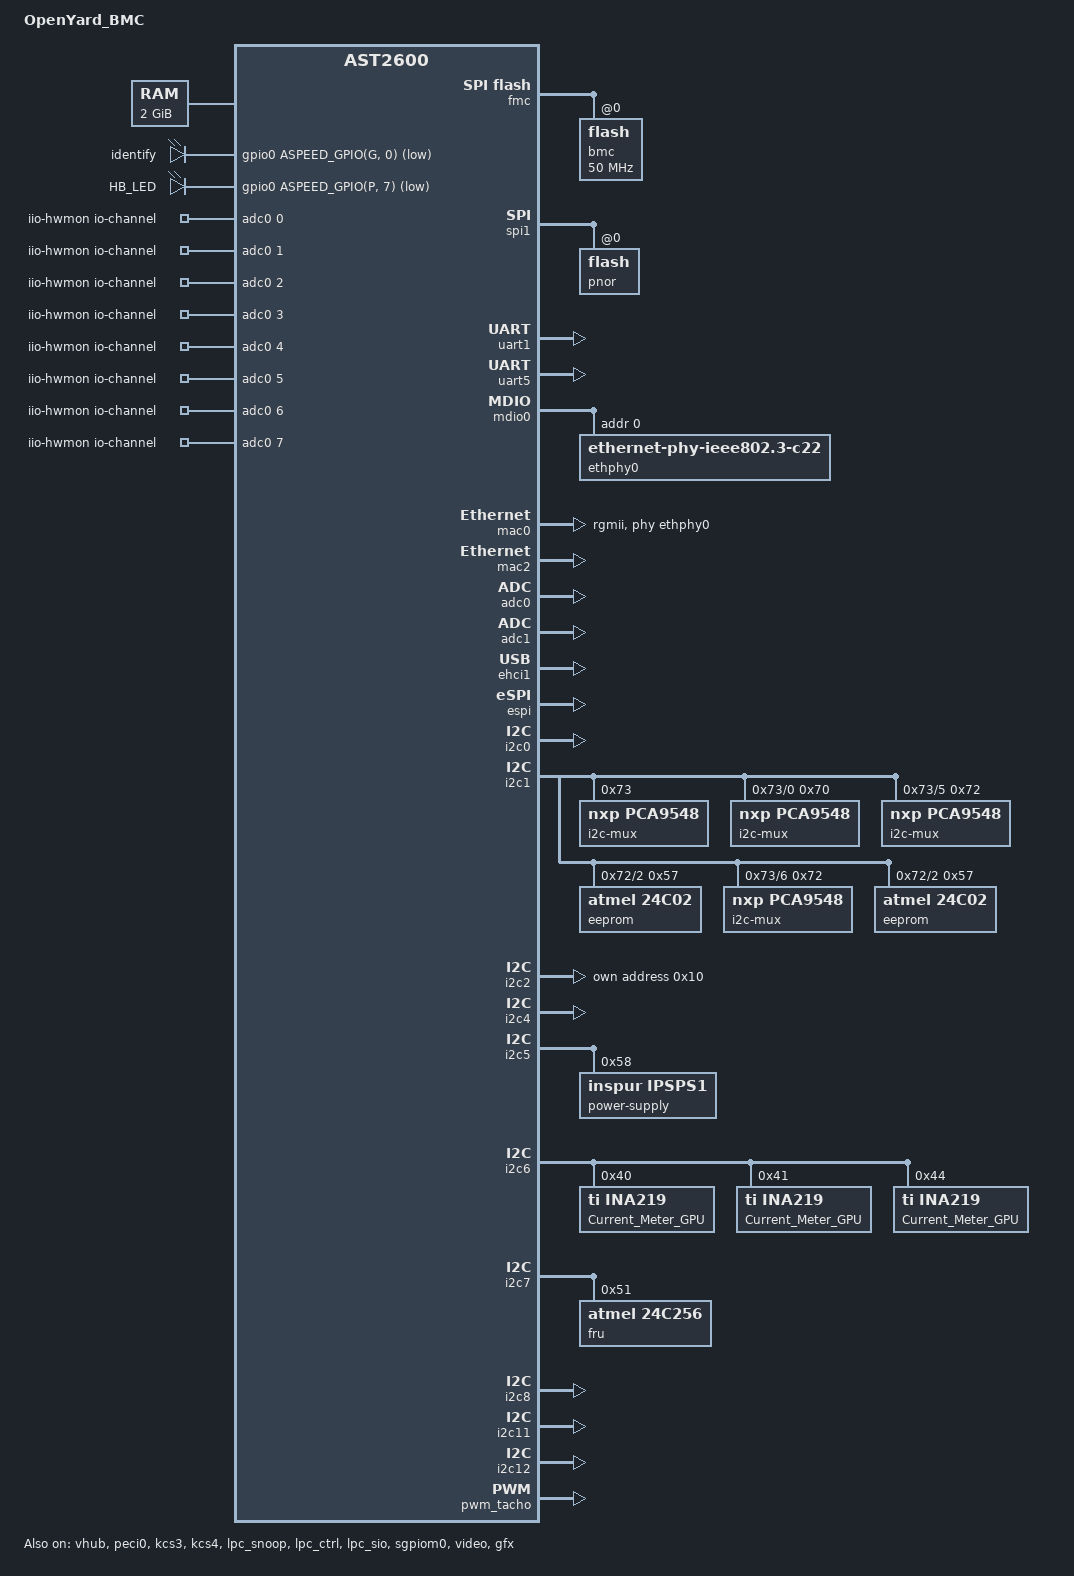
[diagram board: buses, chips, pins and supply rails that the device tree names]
// SPDX-License-Identifier: GPL-2.0
// Copyright (c) 2017 Intel Corporation
/dts-v1/;

#include "aspeed-g6.dtsi"
#include "aspeed-g6-pinctrl.dtsi"
#include <dt-bindings/gpio/aspeed-gpio.h>
#include <dt-bindings/leds/leds-pca955x.h>
#include <dt-bindings/i2c/i2c.h>

/ {
	model = "OpenYard_BMC";
	compatible = "intel,s2600wf-bmc", "aspeed,ast2600";

	aliases {

		/*i2c16 = &pcie_slo1;
		i2c17 = &pcie_slo2;
		i2c18 = &pcie_slo3;
		i2c19 = &ocp30;
		i2c20 = &ocp20;
		i2c23 = &lan;

		i2c24 = &data1;
		i2c25 = &data2;
		i2c26 = &eeprom1;
		i2c27 = &data3;
		i2c28 = &data4;
		i2c29 = &eeprom2;*/

		//i2c100 = &eeprom1;
		//i2c101 = &eeprom2;

	};

	chosen {
		stdout-path = &uart5;
		bootargs = "earlycon";
	};

	memory@80000000 {
		device_type = "memory";
		reg = <0x80000000 0x80000000>;
	};

	leds {
        compatible = "gpio-leds";

        // UID led
        identify {
            default-state = "off";
            gpios = <&gpio0 ASPEED_GPIO(G, 0) GPIO_ACTIVE_LOW>;
        };

        // Heart beat led
        heartbeat {
        	label = "HB_LED";
         	gpios = <&gpio0 ASPEED_GPIO(P, 7) GPIO_ACTIVE_LOW>;
			linux,default-trigger = "heartbeat";
        };
    };

	reserved-memory {
		#address-cells = <1>;
		#size-cells = <1>;
		ranges;

		/* VGA region is dictated by hardware strapping */
		vga_memory: region@9f000000 {
			no-map;
			compatible = "shared-dma-pool";
			reg = <0x9f000000 0x01000000>;  /* 16M */
		};

        /*video_engine_memory: jpegbuffer {
            size = <0x02000000>;
            alignment = <0x01000000>;
            compatible = "shared-dma-pool";
            reusable;
        };*/

		gfx_memory: framebuffer {
			size = <0x01000000>;
			alignment = <0x01000000>;
			compatible = "shared-dma-pool";
			reusable;
		};

		video_engine_memory: video {
			size = <0x04000000>;
			alignment = <0x01000000>;
			compatible = "shared-dma-pool";
			reusable;
		};
		
        ramoops@9eff0000{
            compatible = "ramoops";
            reg = <0x9eff0000 0x10000>;
            record-size = <0x2000>;
            console-size = <0x2000>;
        };
	};

	vga-shared-memory {
		compatible = "aspeed,ast2500-vga-sharedmem";
		reg = <0x9ff00000 0x100000>;
	};

	iio-hwmon {
		compatible = "iio-hwmon";
		io-channels = <&adc0 0>, <&adc0 1>, <&adc0 2>, <&adc0 3>,
			<&adc0 4>, <&adc0 5>, <&adc0 6>, <&adc0 7>,
			<&adc1 0>, <&adc1 1>, <&adc1 2>, <&adc1 3>,
			<&adc1 4>, <&adc1 5>, <&adc1 6>, <&adc1 7>;
	};

};

&fmc {
	status = "okay";
	flash@0 {
		status = "okay";
		m25p,fast-read;
		label = "bmc";
		spi-rx-bus-width = <4>;
		spi-max-frequency = <50000000>;
#include "openbmc-flash-layout-64.dtsi"
	};
};

&spi1 {
	status = "okay";
	pinctrl-names = "default";
	pinctrl-0 = <&pinctrl_spi1_default>;

	flash@0 {
		status = "okay";
		m25p,fast-read;
		label = "pnor";
	};
};

&uart1 {
	/* Rear RS-232 connector */
	status = "okay";
	pinctrl-names = "default";
	pinctrl-0 = <&pinctrl_txd1_default
			&pinctrl_rxd1_default
			&pinctrl_nrts1_default
			&pinctrl_ndtr1_default
			&pinctrl_ndsr1_default
			&pinctrl_ncts1_default
			&pinctrl_ndcd1_default
			&pinctrl_nri1_default>;
};

&uart5 {
	status = "okay";
};


&mdio0 {
	status = "okay";
	ethphy0: ethernet-phy@0 {
		compatible = "ethernet-phy-ieee802.3-c22";
		reg = <0>;
	};	
};

&mac0 {
	status = "okay";

	phy-mode = "rgmii";
	phy-handle = <&ethphy0>;

	pinctrl-names = "default";
	pinctrl-0 = <&pinctrl_rgmii1_default>;
};

&mac2 {
	status = "okay";
	pinctrl-names = "default";
	pinctrl-0 = <&pinctrl_rmii3_default>;
	clocks = <&syscon ASPEED_CLK_GATE_MAC3CLK>,
		 <&syscon ASPEED_CLK_MAC3RCLK>;
	clock-names = "MACCLK", "RCLK";
	use-ncsi;
};

&adc0 {
	vref = <2500>;
	status = "okay";

	pinctrl-names = "default";
	pinctrl-0 = <&pinctrl_adc0_default &pinctrl_adc1_default
		&pinctrl_adc2_default &pinctrl_adc3_default
		&pinctrl_adc4_default &pinctrl_adc5_default
		&pinctrl_adc6_default &pinctrl_adc7_default>;
};

&adc1 {
	vref = <2500>;
	status = "okay";

	pinctrl-names = "default";
	pinctrl-0 = <&pinctrl_adc8_default &pinctrl_adc9_default
		&pinctrl_adc10_default &pinctrl_adc11_default
		&pinctrl_adc12_default &pinctrl_adc13_default
		&pinctrl_adc14_default &pinctrl_adc15_default>;
};

&vhub {
	status = "okay";
};

&ehci1 {
	status = "okay";
};

&peci0 {
	status = "okay";
};

&espi {
	status = "okay";
};

&kcs3 {
	status = "okay";
	aspeed,lpc-io-reg = <0xca2>;
};

&kcs4 {
	aspeed,lpc-io-reg = <0xCA4>;
	status = "okay";
};

&lpc_snoop {
	status = "okay";
	snoop-ports = <0x80>, <0x81>;
};

&lpc_ctrl {
	status = "okay";
};

&lpc_sio {
	status = "okay";
};

&i2c0 {
	status = "okay";
};
//
&i2c1 {

	status = "okay";
	i2c-mux@73 {
		compatible = "nxp,pca9548";
		#address-cells = <1>;
		#size-cells = <0>;
		reg = <0x73>;
		i2c-mux-idle-disconnect;

		pcie_slo1: i2c@0 {
			#address-cells = <1>;
			#size-cells = <0>;
			reg = <0x0>;
		};
	
		pcie_slo2: i2c@1 {
			#address-cells = <1>;
			#size-cells = <0>;
			reg = <0x1>;
		};
		
		pcie_slo3: i2c@2 {
			#address-cells = <1>;
			#size-cells = <0>;
			reg = <0x2>;
		};

		ocp30: i2c@3 {
			#address-cells = <1>;
			#size-cells = <0>;
			reg = <0x3>;
		};

		ocp20: i2c@4 {
			#address-cells = <1>;
			#size-cells = <0>;
			reg = <0x4>;
		};

		u20: i2c@5 {
			#address-cells = <1>;
			#size-cells = <0>;
			reg = <0x5>;
		};

		u21: i2c@6 {
			#address-cells = <1>;
			#size-cells = <0>;
			reg = <0x6>;
		};

		lan: i2c@7 {
			#address-cells = <1>;
			#size-cells = <0>;
			reg = <0x7>;
		};
	};
};

&pcie_slo1 {
	status = "okay";

	i2c-mux@70 {
		compatible = "nxp,pca9548";
		#address-cells = <1>;
		#size-cells = <0>;
		reg = <0x70>;
		i2c-mux-idle-disconnect;

		slot1_ch0: i2c@0 {
			#address-cells = <1>;
			#size-cells = <0>;
			reg = <0x0>;
		};

		slot1_ch1: i2c@1 {
			#address-cells = <1>;
			#size-cells = <0>;
			reg = <0x1>;
		};

		slot1_ch2: i2c@2 {
			#address-cells = <1>;
			#size-cells = <0>;
			reg = <0x2>;
		};

		slot1_ch3: i2c@3 {
			#address-cells = <1>;
			#size-cells = <0>;
			reg = <0x3>;
		};

		slot1_ch4: i2c@4 {
			#address-cells = <1>;
			#size-cells = <0>;
			reg = <0x4>;
		};

		slot1_ch5: i2c@5 {
			#address-cells = <1>;
			#size-cells = <0>;
			reg = <0x5>;
		};

		slot1_ch6: i2c@6 {
			#address-cells = <1>;
			#size-cells = <0>;
			reg = <0x6>;
		};

		slot1_ch7: i2c@7 {
			#address-cells = <1>;
			#size-cells = <0>;
			reg = <0x7>;
		};
	};
};

&u20 {
	status = "okay";
	
	i2c-mux@72 {
		compatible = "nxp,pca9548";
		#address-cells = <1>;
		#size-cells = <0>;
		reg = <0x72>;
		i2c-mux-idle-disconnect;

		data1: i2c@0{
			#address-cells = <1>;
			#size-cells = <0>;
			reg = <0x0>;
		};

		data2: i2c@1{
			#address-cells = <1>;
			#size-cells = <0>;
			reg = <0x1>;
		};

		/*eeprom1: temperature-sensor-eeprom@57 {
			compatible = "jedec,jc-42.4-temp";
			reg = <0x57>;
		};*/
		eeprom1: i2c@2 {
			#address-cells = <1>;
			#size-cells = <0>;
			reg = <0x2>;
		};
	};

};

&u21 {
	status = "okay";

	i2c-mux@72 {
		compatible = "nxp,pca9548";
		#address-cells = <1>;
		#size-cells = <0>;
		reg = <0x72>;
		i2c-mux-idle-disconnect;

		data3: i2c@0{
			#address-cells = <1>;
			#size-cells = <0>;
			reg = <0x0>;
		};

		data4: i2c@1{
			#address-cells = <1>;
			#size-cells = <0>;
			reg = <0x1>;
		};

		/*eeprom2: temperature-sensor-eeprom@57 {
			compatible = "jedec,jc-42.4-temp";
			reg = <0x57>;
		};*/

		eeprom2: i2c@2 {
			#address-cells = <1>;
			#size-cells = <0>;
			reg = <0x2>;
		};
	};

};

&eeprom1 {
	status = "okay";
	eeprom@57 {
		compatible = "atmel,24c02";
		reg = <0x57>;
	};
};

&eeprom2 {
	status = "okay";
		eeprom@57 {
		compatible = "atmel,24c02";
		reg = <0x57>;
	};
};


//
&i2c2 {
	//PCH SMLINK0
	status = "okay";
	aspeed,dma-buf-size = <4095>;
    aspeed,hw-timeout-ms = <300>;
	bus-frequency = <100000>;

	ipmb@10 {
		compatible = "ipmb-dev";
		reg = <(0x10 | I2C_OWN_SLAVE_ADDRESS)>;
		i2c-protocol;
	};
};
//
&i2c3 {
	//SPD Debug
	status = "disabled";
};
//
&i2c4 {
	status = "okay";
};
//
&i2c5 {
	//Need GPIOS5 as "0"
	status = "okay";
	/* PSU1 @ 0xB0 */
	power-supply@58 {
		compatible = "inspur,ipsps1";
		reg = <0x58>;
	};

	/* PSU2 @ 0xB2 */
	/*power-supply@51 {
		compatible = "inspur,ipsps1";
		reg = <0x51>;
	};*/
};
//
&i2c6 {
	//Need ina219 [80,82,88]
	status = "okay";
	Current_Meter_GPU@40 {
		compatible = "ti,ina219";
		reg = <0x40>;
		shunt-resistor = <1000>; /* = 1 mOhm */
	};
	Current_Meter_GPU@41 {
		compatible = "ti,ina219";
		reg = <0x41>;
		shunt-resistor = <1000>; /* = 1 mOhm */
	};
	Current_Meter_GPU@44 {
		compatible = "ti,ina219";
		reg = <0x44>;
		shunt-resistor = <1000>; /* = 1 mOhm */
	};
};
//
&i2c7 {
	//FRU AT24C256 and PFR
	status = "okay";

	eeprom@51 {
		compatible = "atmel,24c256";
		reg = <0x51>;
		label = "fru";
	};
};
//
&i2c8 {
	status = "okay";
};
//
&i2c9 {
	status = "disabled";
};
//
&i2c10 {
	status = "disabled";
};
//
&i2c11 {
	status = "okay";
};
//
&i2c12 {
	//PIROM
	status = "okay";
};
//
&i2c13 {
	status = "disabled";
};
//
&i2c14 {
	status = "disabled";
};
//
&i2c15 {
	status = "disabled";
};

&sgpiom0 {
	status = "okay";
	ngpios = <128>;
	bus-frequency = <48000>;
	gpio-line-names =
	/* SGPIO input lines */
	/*IOA0-IOA7*/	"","", "","", "","", "","", "","", "","", "","", "","",
	/*IOB0-IOB7*/	"","", "","", "","", "","", "","", "","", "","", "","",
	/*IOC0-IOC7*/	"","", "","", "","", "","", "","", "","", "","", "","",
	/*IOD0-IOD7*/	"","", "","", "","", "","", "","", "","", "","", "","",
	/*IOE0-IOE7*/	"","", "","", "","", "","", "","", "","", "","", "","",
	/*IOF0-IOF7*/	"","", "","", "","", "","", "","", "","", "","", "","",
	/*IOG0-IOG7*/	"","", "","", "","", "","", "","", "","", "","", "","",
	/*IOH0-IOH7*/	"","", "","", "","", "","", "","", "","", "","", "","",
	/*IOI0-IOI7*/	"","", "","", "","", "","", "","", "","", "","", "","",
	/*IOJ0-IOJ7*/	"","", "","", "","", "","", "","", "","", "","", "","",
	/*IOK0-IOK7*/	"","", "","", "","", "","", "","", "","", "","", "","",
	/*IOL0-IOL7*/	"","", "","", "","", "","", "","", "","", "","", "","",
	/*IOM0-IOM7*/	"","", "","", "","", "","", "","", "","", "","", "","",
	/*ION0-ION7*/	"","", "","", "","", "","", "","", "","", "","", "","",
	/*IOO0-IOO7*/	"","", "","", "","", "","", "","", "","", "","", "","",
	/*IOP0-IOP7*/	"","", "","", "","", "","", "","", "","", "","", "","";
};


&pwm_tacho {
	status = "okay";
	pinctrl-names = "default";
	pinctrl-0 = <&pinctrl_pwm0_default &pinctrl_tach0_default
			&pinctrl_pwm1_default &pinctrl_tach1_default>;

	fan@0 {
		reg = <0x00>;
		aspeed,pwm-freq = <25000>;
		cooling-levels = /bits/ 8 <125 151 177 203 229 255>;
		aspeed,fan-tach-ch = /bits/ 8 <0x00>;
		aspeed,pulse-pr = <2>;
	};

	fan@1 {
		reg = <0x01>;
		aspeed,pwm-freq = <25000>;
		cooling-levels = /bits/ 8 <125 151 177 203 229 255>;
		aspeed,fan-tach-ch = /bits/ 8 <0x01>;
		aspeed,pulse-pr = <2>;
	};
};

&video {
	status = "okay";
	memory-region = <&video_engine_memory>;
};

&gfx {
	status = "okay";
	memory-region = <&gfx_memory>;
};

&gpio0 {
	gpio-line-names =
	/*A0 - A7*/	"", "PWRGD_PS_PWROK_PLD_R", "", "", "", "", "", "",
	/*B0 - B7*/	"", "", "", "", "", "", "", "",
	/*C0 - C7*/	"", "", "", "", "", "", "", "",
	/*D0 - D7*/	"", "", "", "", "", "", "", "",
	/*E0 - E7*/	"", "", "", "", "", "", "", "",
	/*F0 - F7*/	"", "", "", "", "", "", "PLTRST_N", "POST_COMPLETE",
	/*G0 - G7*/	"", "", "", "", "", "", "", "",
	/*H0 - H7*/	"", "", "", "", "", "", "", "",
	/*I0 - I7*/	"", "", "", "", "", "", "", "",
	/*J0 - J7*/	"", "", "", "", "", "", "", "",
	/*K0 - K7*/	"", "", "", "", "", "", "", "",
	/*L0 - L7*/	"", "", "", "", "", "", "", "",
	/*M0 - M7*/	"", "", "", "", "", "", "", "",
	/*N0 - N7*/	"", "", "", "", "", "", "", "",
	/*O0 - O7*/	"", "", "", "", "", "", "", "",
	/*P0 - P7*/	"SYS_BMC_PWRBTN_R_N", "SYS_PWRBTN_N", "FP_RST_BTN_N", "FM_BMC_RSTBTN_OUT_N", "", "IRQ_BMC_PCH_NMI_R", "", "",
	/*Q0 - Q7*/	"", "", "", "", "", "", "", "",
	/*R0 - R7*/	"FP_ID_BTN_SCM_N", "", "", "", "", "", "", "",
	/*S0 - S7*/	"", "", "", "", "", "", "", "",
	/*T0 - T7*/	"", "", "", "", "", "", "", "",
	/*U0 - U7*/	"", "", "", "", "", "", "", "",
	/*V0 - V7*/	"", "", "", "", "", "", "", "",
	/*W0 - W7*/	"", "", "", "", "", "", "", "",
	/*X0 - X7*/	"", "", "", "", "", "", "", "",
	/*Y0 - Y7*/	"", "", "", "", "", "", "", "",
	/*Z0 - Z7*/	"", "", "", "", "", "", "", "",
	/*AA0 - AA7*/	"", "", "", "", "", "", "", "",
	/*AB0 - AB7*/	"", "", "", "", "", "", "", "",
	/*AC0 - AC7*/	"", "", "", "", "", "", "", "";
};

